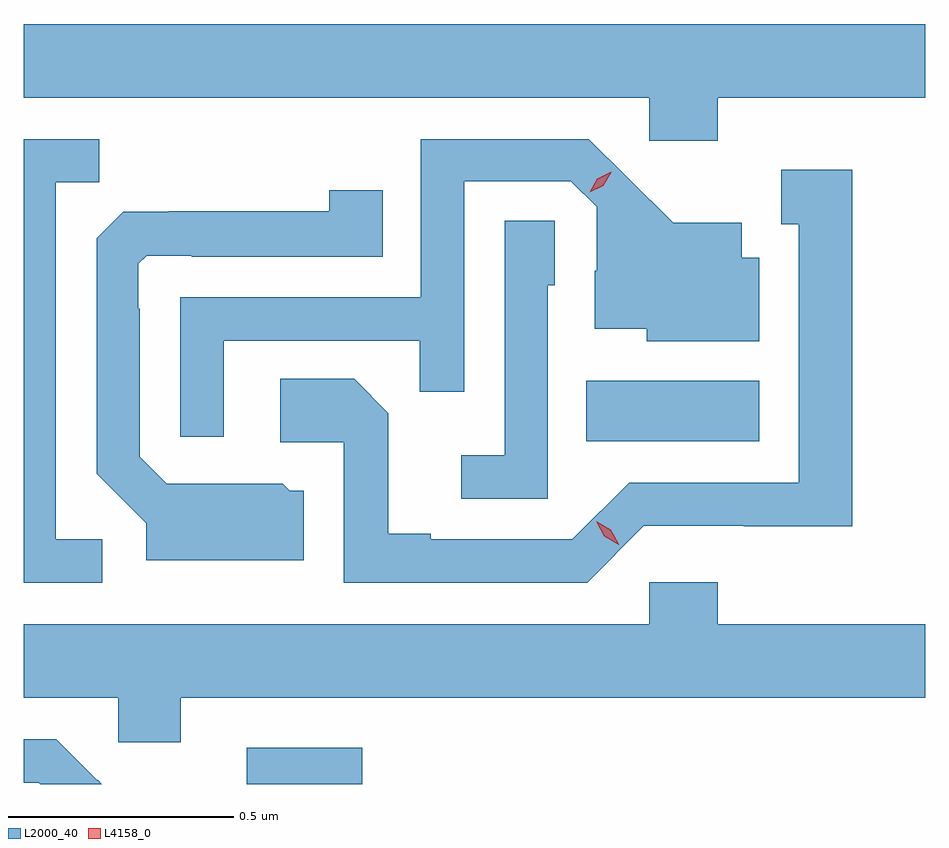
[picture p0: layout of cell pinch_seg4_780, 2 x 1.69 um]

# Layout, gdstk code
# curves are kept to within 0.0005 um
import gdstk
lib = gdstk.Library(unit=1e-6, precision=1e-09)
def R(c, l, rs):  # rectangles x0, y0, x1, y1
    for r in rs: c.add(gdstk.rectangle(r[:2], r[2:], *l))
def P(c, l, *ps):  # polygons
    for p in ps: c.add(gdstk.Polygon(p, *l))
L2000_40 = (2000, 40)
L4158_0 = (4158, 0)

pinch_seg4_780 = lib.new_cell('pinch_seg4_780')
R(pinch_seg4_780, L2000_40, [(773.532,816.609,773.789,816.69), (774.286,817.37,774.67,817.504)])
P(pinch_seg4_780, L2000_40, [(774.578,818.132),(775.038,818.132),(775.038,818.296),(773.038,818.296),(773.038,818.132),(774.426,818.132),(774.426,818.037),(774.578,818.037)],
  [(773.212,817.152),(773.109,817.152),(773.109,817.945),(773.205,817.945),(773.205,818.04),(773.038,818.04),(773.038,817.056),(773.212,817.056)],
  [(773.481,817.593),(773.917,817.593),(773.917,817.48),(774.015,817.48),(774.015,817.947),(774.252,817.947),(774.309,817.89),(774.309,817.748),(774.305,817.748),(774.305,817.619),(774.42,817.619),(774.42,817.592),(774.67,817.592),(774.67,817.777),(774.631,817.777),(774.631,817.855),(774.479,817.855),(774.292,818.04),(773.919,818.04),(773.919,817.689),(773.385,817.689),(773.385,817.38),(773.481,817.38)],
  [(774.414,817.182),(774.636,817.182),(774.636,817.181),(774.877,817.181),(774.877,817.972),(774.719,817.972),(774.719,817.851),(774.758,817.851),(774.758,817.278),(774.381,817.278),(774.255,817.152),(773.941,817.152),(773.941,817.165),(773.847,817.165),(773.847,817.432),(773.771,817.508),(773.607,817.508),(773.607,817.368),(773.748,817.368),(773.748,817.056),(774.288,817.056)],
  [(773.659,817.26),(773.628,817.26),(773.612,817.276),(773.478,817.276),(773.478,817.275),(773.355,817.275),(773.295,817.335),(773.295,817.664),(773.292,817.664),(773.292,817.764),(773.31,817.782),(773.41,817.782),(773.41,817.779),(773.834,817.779),(773.834,817.927),(773.716,817.927),(773.716,817.88),(773.359,817.88),(773.359,817.879),(773.258,817.879),(773.199,817.82),(773.199,817.298),(773.309,817.188),(773.309,817.106),(773.659,817.106)],
  [(774.201,817.716),(774.216,817.716),(774.216,817.859),(774.105,817.859),(774.105,817.339),(774.009,817.339),(774.009,817.242),(774.201,817.242)],
  [(773.386,816.8),(775.038,816.8),(775.038,816.964),(774.578,816.964),(774.578,817.057),(774.426,817.057),(774.426,816.964),(773.038,816.964),(773.038,816.8),(773.247,816.8),(773.247,816.702),(773.386,816.702)],
  [(773.202,816.618),(773.201,816.617),(773.11,816.708),(773.038,816.708),(773.038,816.612),(773.071,816.612),(773.074,816.609),(773.211,816.609)])
P(pinch_seg4_780, L4158_0, [(774.358,817.14),(774.326,817.159),(774.308,817.192),(774.308,817.192),(774.308,817.192),(774.34,817.173),(774.358,817.141),(774.358,817.14)],
  [(774.294,817.922),(774.294,817.922),(774.311,817.952),(774.341,817.968),(774.341,817.968),(774.341,817.967),(774.324,817.937),(774.294,817.922)])

lib.write_gds('pinch_seg4_780.gds')
